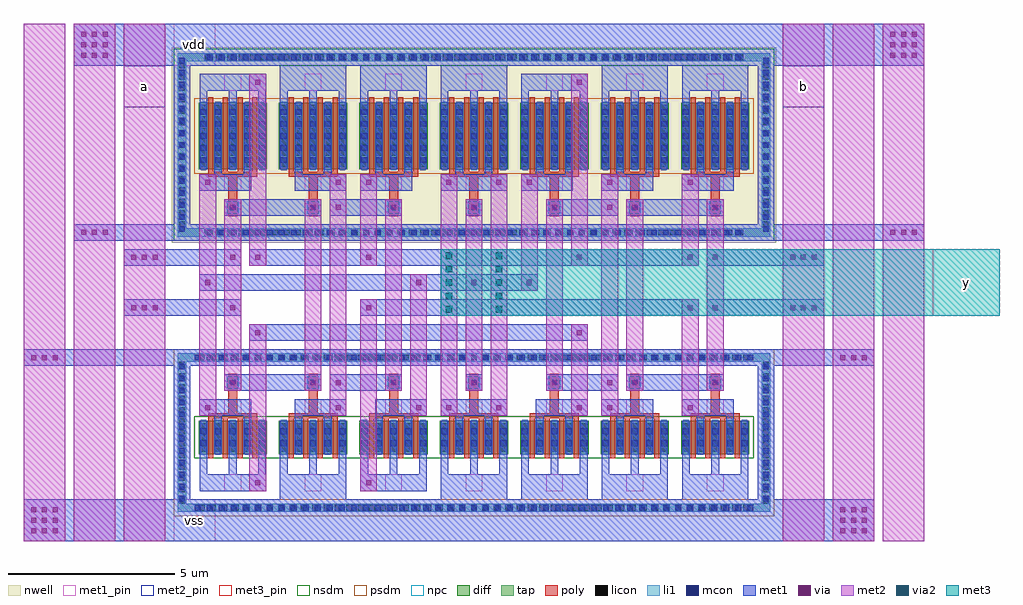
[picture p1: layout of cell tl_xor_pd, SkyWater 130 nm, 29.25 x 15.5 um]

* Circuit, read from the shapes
.subckt tl_xor_pd a b vdd vss y
XM1 sky130_fd_pr__nfet_01v8_tl_xor_pd_8/d a sky130_fd_pr__nfet_01v8_tl_xor_pd_6/d vss sky130_fd_pr__nfet_01v8 w=1 l=0.15 m=4
XM2 sky130_fd_pr__nfet_01v8_tl_xor_pd_4/d a vss vss sky130_fd_pr__nfet_01v8 w=1 l=0.15 m=4
XM3 sky130_fd_pr__nfet_01v8_tl_xor_pd_8/d sky130_fd_pr__nfet_01v8_tl_xor_pd_4/d sky130_fd_pr__nfet_01v8_tl_xor_pd_7/d vss sky130_fd_pr__nfet_01v8 w=1 l=0.15 m=4
XM4 y sky130_fd_pr__nfet_01v8_tl_xor_pd_8/d vss vss sky130_fd_pr__nfet_01v8 w=1 l=0.15 m=4
XM5 sky130_fd_pr__nfet_01v8_tl_xor_pd_6/d sky130_fd_pr__nfet_01v8_tl_xor_pd_2/d vss vss sky130_fd_pr__nfet_01v8 w=1 l=0.15 m=4
XM6 sky130_fd_pr__nfet_01v8_tl_xor_pd_2/d b vss vss sky130_fd_pr__nfet_01v8 w=1 l=0.15 m=4
XM7 sky130_fd_pr__nfet_01v8_tl_xor_pd_7/d b vss vss sky130_fd_pr__nfet_01v8 w=1 l=0.15 m=4
XM8 sky130_fd_pr__nfet_01v8_tl_xor_pd_8/d a sky130_fd_pr__pfet_tl_xor_pd_12/d vdd sky130_fd_pr__pfet_01v8 w=2 l=0.15 m=4
XM9 sky130_fd_pr__nfet_01v8_tl_xor_pd_4/d a vdd vdd sky130_fd_pr__pfet_01v8 w=2 l=0.15 m=4
XM10 sky130_fd_pr__pfet_tl_xor_pd_12/d sky130_fd_pr__nfet_01v8_tl_xor_pd_4/d vdd vdd sky130_fd_pr__pfet_01v8 w=2 l=0.15 m=4
XM11 y sky130_fd_pr__nfet_01v8_tl_xor_pd_8/d vdd vdd sky130_fd_pr__pfet_01v8 w=2 l=0.15 m=4
XM12 sky130_fd_pr__nfet_01v8_tl_xor_pd_8/d sky130_fd_pr__nfet_01v8_tl_xor_pd_2/d sky130_fd_pr__pfet_tl_xor_pd_12/d vdd sky130_fd_pr__pfet_01v8 w=2 l=0.15 m=4
XM13 sky130_fd_pr__nfet_01v8_tl_xor_pd_2/d b vdd vdd sky130_fd_pr__pfet_01v8 w=2 l=0.15 m=4
XM14 sky130_fd_pr__pfet_tl_xor_pd_12/d b vdd vdd sky130_fd_pr__pfet_01v8 w=2 l=0.15 m=4
.ends

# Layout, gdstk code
import gdstk
lib = gdstk.Library(unit=1e-6, precision=1e-09)
def R(c, l, rs):  # rectangles x0, y0, x1, y1
    for r in rs: c.add(gdstk.rectangle(r[:2], r[2:], *l))
def A(c, l, x, y, w, h, nx, ny, dx, dy):  # array of equal rectangles
    R(c, l, [(x+i*dx, y+j*dy, x+i*dx+w, y+j*dy+h) for i in range(nx) for j in range(ny)])
nwell = (64, 20)
diff = (65, 20)
tap = (65, 44)
poly = (66, 20)
licon = (66, 44)
li1 = (67, 20)
mcon = (67, 44)
met1_pin = (68, 16)
met1 = (68, 20)
via = (68, 44)
met2_pin = (69, 16)
met2 = (69, 20)
via2 = (69, 44)
met3_pin = (70, 16)
met3 = (70, 20)
nsdm = (93, 44)
psdm = (94, 20)
npc = (95, 20)

sky130_fd_pr__nfet_01v8_ = lib.new_cell('sky130_fd_pr__nfet_01v8_tl_xor_pd')
R(sky130_fd_pr__nfet_01v8_, diff, [(-0.365,-3.635,1.685,-2.635)])
A(sky130_fd_pr__nfet_01v8_, poly, -0.075, -3.765, 0.15, 1.205, 4, 1, 0.44, 0)
R(sky130_fd_pr__nfet_01v8_, poly, [(-0.075,-2.56,1.395,-2.41), (0.525,-2.41,0.795,-1.225)])
A(sky130_fd_pr__nfet_01v8_, licon, -0.305, -3.56, 0.17, 0.17, 5, 3, 0.44, 0.34)
R(sky130_fd_pr__nfet_01v8_, licon, [(0.575,-1.58,0.745,-1.41)])
A(sky130_fd_pr__nfet_01v8_, li1, -0.305, -3.655, 0.17, 1.04, 5, 1, 0.44, 0)
R(sky130_fd_pr__nfet_01v8_, li1, [(0.495,-1.685,0.825,-1.305)])
A(sky130_fd_pr__nfet_01v8_, mcon, -0.305, -3.4, 0.17, 0.17, 5, 2, 0.44, 0.36)
R(sky130_fd_pr__nfet_01v8_, mcon, [(0.575,-1.58,0.745,-1.41)])
R(sky130_fd_pr__nfet_01v8_, met1_pin, [(0.41,-4.745,0.91,-4.245), (0.41,-2.495,0.91,-1.995), (0.41,-1.745,0.91,-1.245)])
A(sky130_fd_pr__nfet_01v8_, met1, -0.335, -4.245, 0.23, 1.61, 3, 1, 0.88, 0)
R(sky130_fd_pr__nfet_01v8_, met1, [(-0.335,-4.745,1.655,-4.245), (0.105,-3.635,0.335,-2.495), (0.985,-3.635,1.215,-2.495), (0.105,-2.495,1.215,-1.995), (0.41,-1.745,0.91,-1.245)])
R(sky130_fd_pr__nfet_01v8_, nsdm, [(-0.49,-3.76,1.81,-2.51)])
R(sky130_fd_pr__nfet_01v8_, npc, [(0.475,-1.68,0.845,-1.31)])
sky130_fd_pr__nfet_01v8_.add(gdstk.Label('d', (0.66,-2.245), layer=68, texttype=5))
sky130_fd_pr__nfet_01v8_.add(gdstk.Label('g', (0.66,-1.495), layer=68, texttype=5))
sky130_fd_pr__nfet_01v8_.add(gdstk.Label('s', (0.66,-4.495), layer=68, texttype=5))

sky130_fd_pr__pfet_tl_xo = lib.new_cell('sky130_fd_pr__pfet_tl_xor_pd')
R(sky130_fd_pr__pfet_tl_xo, nwell, [(-0.545,-7.41,1.865,-2.66)])
R(sky130_fd_pr__pfet_tl_xo, diff, [(-0.365,-5.77,1.685,-3.77)])
A(sky130_fd_pr__pfet_tl_xo, poly, -0.075, -5.845, 0.15, 2.23, 4, 1, 0.44, 0)
R(sky130_fd_pr__pfet_tl_xo, poly, [(0.525,-7.18,0.795,-5.995), (-0.075,-5.995,1.395,-5.845)])
A(sky130_fd_pr__pfet_tl_xo, licon, -0.305, -5.705, 0.17, 0.17, 5, 6, 0.44, 0.34)
R(sky130_fd_pr__pfet_tl_xo, licon, [(0.575,-6.995,0.745,-6.825)])
A(sky130_fd_pr__pfet_tl_xo, li1, -0.305, -5.79, 0.17, 2.04, 5, 1, 0.44, 0)
R(sky130_fd_pr__pfet_tl_xo, li1, [(0.495,-7.1,0.825,-6.72)])
A(sky130_fd_pr__pfet_tl_xo, mcon, -0.305, -5.575, 0.17, 0.17, 5, 5, 0.44, 0.36)
R(sky130_fd_pr__pfet_tl_xo, mcon, [(0.575,-6.995,0.745,-6.825)])
R(sky130_fd_pr__pfet_tl_xo, met1_pin, [(0.41,-7.16,0.91,-6.66), (0.41,-6.41,0.91,-5.91), (0.41,-3.41,0.91,-2.91)])
A(sky130_fd_pr__pfet_tl_xo, met1, -0.335, -5.77, 0.23, 2.36, 3, 1, 0.88, 0)
R(sky130_fd_pr__pfet_tl_xo, met1, [(0.41,-7.16,0.91,-6.66), (0.105,-6.41,1.215,-5.91), (0.105,-5.91,0.335,-3.77), (0.985,-5.91,1.215,-3.77), (-0.335,-3.41,1.655,-2.91)])
R(sky130_fd_pr__pfet_tl_xo, psdm, [(-0.49,-5.895,1.81,-3.645)])
R(sky130_fd_pr__pfet_tl_xo, npc, [(0.475,-7.095,0.845,-6.725)])
sky130_fd_pr__pfet_tl_xo.add(gdstk.Label('d', (0.66,-6.16), layer=68, texttype=5))
sky130_fd_pr__pfet_tl_xo.add(gdstk.Label('g', (0.66,-6.91), layer=68, texttype=5))
sky130_fd_pr__pfet_tl_xo.add(gdstk.Label('s', (0.66,-3.16), layer=68, texttype=5))

tl_xor_pd = lib.new_cell('tl_xor_pd')
R(tl_xor_pd, nwell, [(2.695,-0.555,20.805,5.305)])
R(tl_xor_pd, tap, [(2.875,-8.625,20.625,-8.375), (2.875,-8.375,3.125,-4.125), (20.375,-8.375,20.625,-4.125), (2.875,-4.125,20.625,-3.875), (2.875,-0.375,20.625,-0.125), (2.875,-0.125,3.125,4.875), (20.375,-0.125,20.625,4.875), (2.875,4.875,20.625,5.125)])
A(tl_xor_pd, licon, 3.505, -8.585, 0.17, 0.17, 49, 2, 0.34, 4.5)
A(tl_xor_pd, licon, 2.915, -8.375, 0.17, 0.17, 1, 13, 0, 0.34)
A(tl_xor_pd, licon, 20.415, -8.375, 0.17, 0.17, 1, 13, 0, 0.34)
A(tl_xor_pd, licon, 3.675, -0.335, 0.17, 0.17, 48, 2, 0.34, 5.25)
A(tl_xor_pd, licon, 2.915, -0.09, 0.17, 0.17, 1, 15, 0, 0.34)
A(tl_xor_pd, licon, 20.415, -0.09, 0.17, 0.17, 1, 15, 0, 0.34)
R(tl_xor_pd, li1, [(2.875,-8.625,20.625,-8.375), (2.875,-8.375,3.125,-4.125), (20.375,-8.375,20.625,-4.125), (2.875,-4.125,20.625,-3.875), (2.875,-0.375,20.625,-0.125), (2.875,-0.125,3.125,4.875), (20.375,-0.125,20.625,4.875), (2.875,4.875,20.625,5.125)])
A(tl_xor_pd, mcon, 3.385, -8.585, 0.17, 0.17, 47, 2, 0.36, 4.5)
A(tl_xor_pd, mcon, 2.915, -8.315, 0.17, 0.17, 1, 12, 0, 0.36)
A(tl_xor_pd, mcon, 20.415, -8.315, 0.17, 0.17, 1, 12, 0, 0.36)
A(tl_xor_pd, mcon, 3.745, -0.335, 0.17, 0.17, 45, 2, 0.36, 5.25)
A(tl_xor_pd, mcon, 2.915, -0.23, 0.17, 0.17, 1, 15, 0, 0.36)
A(tl_xor_pd, mcon, 20.415, -0.23, 0.17, 0.17, 1, 15, 0, 0.36)
R(tl_xor_pd, met1_pin, [(2.75,-9.5,4,-8.25), (2.75,4.75,4,6)])
A(tl_xor_pd, met1, 10.755, -8.25, 1.99, 0.25, 4, 1, 2.41, 0)
A(tl_xor_pd, met1, 10.75, 1, 0.5, 0.5, 3, 1, 0.75, 0)
A(tl_xor_pd, met1, 13.16, 1, 0.5, 0.5, 3, 1, 2.41, 0)
A(tl_xor_pd, met1, 5.935, 4.5, 1.99, 0.25, 3, 1, 2.41, 0)
R(tl_xor_pd, met1, [(-1.75,-9.5,23.75,-8.25), (2.75,-8.25,3.25,-4.25), (5.935,-8.25,7.925,-8), (20.25,-8.25,20.75,-4.25), (5.02,-8,5.52,-7.5), (8.34,-8,8.84,-7.5), (3.52,-5.75,4.02,-5.25), (7.43,-5.75,7.93,-5.25), (9.84,-5.75,10.34,-5.25), (10.75,-5.75,11.25,-5.25), (12.25,-5.75,12.75,-5.25), (14.66,-5.75,15.16,-5.25), (15.57,-5.75,16.07,-5.25), (17.98,-5.75,18.48,-5.25), (4.27,-5,7.18,-4.5), (7.43,-5,9.59,-4.5), (11.5,-5,12,-4.5), (13.91,-5,16.07,-4.5), (16.32,-5,19.23,-4.5), (-1.75,-4.25,23.75,-3.75), (5.02,-3.5,15.16,-3), (1.25,-2.75,4.77,-2.25), (8.34,-2.75,18.48,-2.25), (18.73,-2.75,22.25,-2.25), (3.52,-2,13.66,-1.5), (1.25,-1.25,4.77,-0.75), (5.02,-1.25,18.48,-0.75), (18.73,-1.25,22.25,-0.75), (-0.25,-0.5,25.25,0), (2.75,0,3.25,4.75), (20.25,0,20.75,4.75), (4.27,0.25,7.18,0.75), (7.43,0.25,9.59,0.75), (11.5,0.25,12,0.75), (13.91,0.25,16.07,0.75), (16.32,0.25,19.23,0.75), (3.52,1,4.02,1.5), (7.43,1,7.93,1.5), (8.34,1,8.84,1.5), (5.02,4,5.52,4.5), (14.66,4,15.16,4.5), (15.575,4.5,17.565,4.75), (17.985,4.5,19.975,4.75), (-0.25,4.75,25.25,6)])
A(tl_xor_pd, via, -1.52, -9.27, 0.15, 0.15, 3, 3, 0.32, 0.32)
A(tl_xor_pd, via, 22.73, -9.27, 0.15, 0.15, 3, 3, 0.32, 0.32)
A(tl_xor_pd, via, 14.835, -5.575, 0.15, 0.15, 1, 3, 0, 2.25)
A(tl_xor_pd, via, 9.265, -4.825, 0.15, 0.15, 3, 2, 2.41, 5.25)
A(tl_xor_pd, via, -1.52, -4.075, 0.15, 0.15, 3, 1, 0.32, 0)
A(tl_xor_pd, via, 22.73, -4.075, 0.15, 0.15, 3, 1, 0.32, 0)
A(tl_xor_pd, via, 1.48, -2.575, 0.15, 0.15, 3, 2, 0.32, 1.5)
A(tl_xor_pd, via, 4.445, -2.575, 0.15, 0.15, 1, 3, 0, 1.5)
A(tl_xor_pd, via, 18.905, -2.575, 0.15, 0.15, 1, 3, 0, 1.5)
A(tl_xor_pd, via, 21.23, -2.575, 0.15, 0.15, 3, 2, 0.32, 1.5)
A(tl_xor_pd, via, 10.015, -1.825, 0.15, 0.15, 3, 1, 1.66, 0)
A(tl_xor_pd, via, -0.02, -0.325, 0.15, 0.15, 3, 2, 0.32, 5.305)
A(tl_xor_pd, via, 24.23, -0.325, 0.15, 0.15, 3, 2, 0.32, 5.305)
A(tl_xor_pd, via, 13.335, 1.175, 0.15, 0.15, 3, 1, 2.41, 0)
A(tl_xor_pd, via, -0.02, 5.3, 0.15, 0.15, 3, 2, 0.32, 0.32)
A(tl_xor_pd, via, 24.23, 5.3, 0.15, 0.15, 3, 2, 0.32, 0.32)
R(tl_xor_pd, via, [(5.195,-7.825,5.345,-7.675), (8.515,-7.825,8.665,-7.675), (3.695,-5.575,3.845,-5.425), (7.605,-5.575,7.755,-5.425), (10.015,-5.575,10.165,-5.425), (10.925,-5.575,11.075,-5.425), (12.425,-5.575,12.575,-5.425), (15.745,-5.575,15.895,-5.425), (18.155,-5.575,18.305,-5.425), (4.445,-4.825,4.595,-4.675), (6.855,-4.825,7.005,-4.675), (7.605,-4.825,7.755,-4.675), (15.745,-4.825,15.895,-4.675), (16.495,-4.825,16.645,-4.675), (18.905,-4.825,19.055,-4.675), (5.195,-3.325,5.345,-3.175), (8.515,-2.575,8.665,-2.425), (18.155,-2.575,18.305,-2.425), (3.695,-1.825,3.845,-1.675), (5.195,-1.075,5.345,-0.925), (8.515,-1.075,8.665,-0.925), (18.155,-1.075,18.305,-0.925), (6.855,0.425,7.005,0.575), (7.605,0.425,7.755,0.575), (15.745,0.425,15.895,0.575), (16.495,0.425,16.645,0.575), (3.695,1.175,3.845,1.325), (7.605,1.175,7.755,1.325), (8.515,1.175,8.665,1.325), (10.925,1.175,11.075,1.325), (12.425,1.175,12.575,1.325), (5.195,4.175,5.345,4.325), (14.835,4.175,14.985,4.325)])
R(tl_xor_pd, met2_pin, [(1.25,3.5,2.5,4.75), (21,3.5,22.25,4.75)])
A(tl_xor_pd, met2, -1.75, -9.5, 1.25, 15.5, 3, 1, 1.5, 0)
A(tl_xor_pd, met2, 21, -9.5, 1.25, 15.5, 3, 1, 1.5, 0)
A(tl_xor_pd, met2, 4.27, -5, 0.5, 5.75, 7, 1, 2.41, 0)
R(tl_xor_pd, met2, [(5.02,-8,5.52,-3), (8.34,-8,8.84,-2.25), (3.52,-5.75,4.02,1.5), (7.43,-5.75,7.93,1.5), (9.84,-5.75,10.34,-1.5), (10.75,-5.75,11.25,1.5), (12.25,-5.75,12.75,1.5), (14.66,-5.75,15.16,-3), (15.57,-5.75,16.07,1.5), (17.98,-5.75,18.48,-2.25), (13.16,-2,13.66,1.5), (5.02,-1.25,5.52,4.5), (8.34,-1.25,8.84,1.5), (14.66,-1.25,15.16,4.5), (17.98,-1.25,18.48,1.5)])
A(tl_xor_pd, via2, 10.9, -2.65, 0.2, 0.2, 1, 5, 0, 0.4)
A(tl_xor_pd, via2, 12.4, -2.65, 0.2, 0.2, 1, 5, 0, 0.4)
R(tl_xor_pd, met3_pin, [(25.5,-2.75,27.5,-0.75)])
R(tl_xor_pd, met3, [(10.75,-2.75,27.5,-0.75)])
A(tl_xor_pd, nsdm, 5.67, -7.015, 0.11, 1.25, 6, 1, 2.41, 0)
R(tl_xor_pd, nsdm, [(2.75,-0.5,20.75,0), (2.75,0,3.25,4.75), (20.25,0,20.75,4.75), (2.75,4.75,20.75,5.25)])
A(tl_xor_pd, psdm, 5.67, 1.515, 0.11, 2.25, 6, 1, 2.41, 0)
R(tl_xor_pd, psdm, [(2.75,-8.75,20.75,-8.25), (2.75,-8.25,3.25,-4.25), (20.25,-8.25,20.75,-4.25), (2.75,-4.25,20.75,-3.75)])
tl_xor_pd.add(gdstk.Reference(sky130_fd_pr__nfet_01v8_, (11.09,-3.255)))
tl_xor_pd.add(gdstk.Reference(sky130_fd_pr__pfet_tl_xo, (11.09,7.41)))
tl_xor_pd.add(gdstk.Reference(sky130_fd_pr__nfet_01v8_, (15.91,-3.255)))
tl_xor_pd.add(gdstk.Reference(sky130_fd_pr__pfet_tl_xo, (15.91,7.41)))
tl_xor_pd.add(gdstk.Reference(sky130_fd_pr__nfet_01v8_, (6.27,-3.255)))
tl_xor_pd.add(gdstk.Reference(sky130_fd_pr__pfet_tl_xo, (6.27,7.41)))
tl_xor_pd.add(gdstk.Reference(sky130_fd_pr__nfet_01v8_, (13.5,-3.255)))
tl_xor_pd.add(gdstk.Reference(sky130_fd_pr__nfet_01v8_, (18.32,-3.255)))
tl_xor_pd.add(gdstk.Reference(sky130_fd_pr__nfet_01v8_, (3.86,-3.255)))
tl_xor_pd.add(gdstk.Reference(sky130_fd_pr__nfet_01v8_, (8.68,-3.255)))
tl_xor_pd.add(gdstk.Reference(sky130_fd_pr__pfet_tl_xo, (13.5,7.41)))
tl_xor_pd.add(gdstk.Reference(sky130_fd_pr__pfet_tl_xo, (3.86,7.41)))
tl_xor_pd.add(gdstk.Reference(sky130_fd_pr__pfet_tl_xo, (18.32,7.41)))
tl_xor_pd.add(gdstk.Reference(sky130_fd_pr__pfet_tl_xo, (8.68,7.41)))
tl_xor_pd.add(gdstk.Label('vdd', (3.375,5.375), layer=68, texttype=5))
tl_xor_pd.add(gdstk.Label('vss', (3.375,-8.875), layer=68, texttype=5))
tl_xor_pd.add(gdstk.Label('a', (1.875,4.125), layer=69, texttype=5))
tl_xor_pd.add(gdstk.Label('b', (21.625,4.125), layer=69, texttype=5))
tl_xor_pd.add(gdstk.Label('y', (26.5,-1.75), layer=70, texttype=5))

lib.write_gds('tl_xor_pd.gds')
